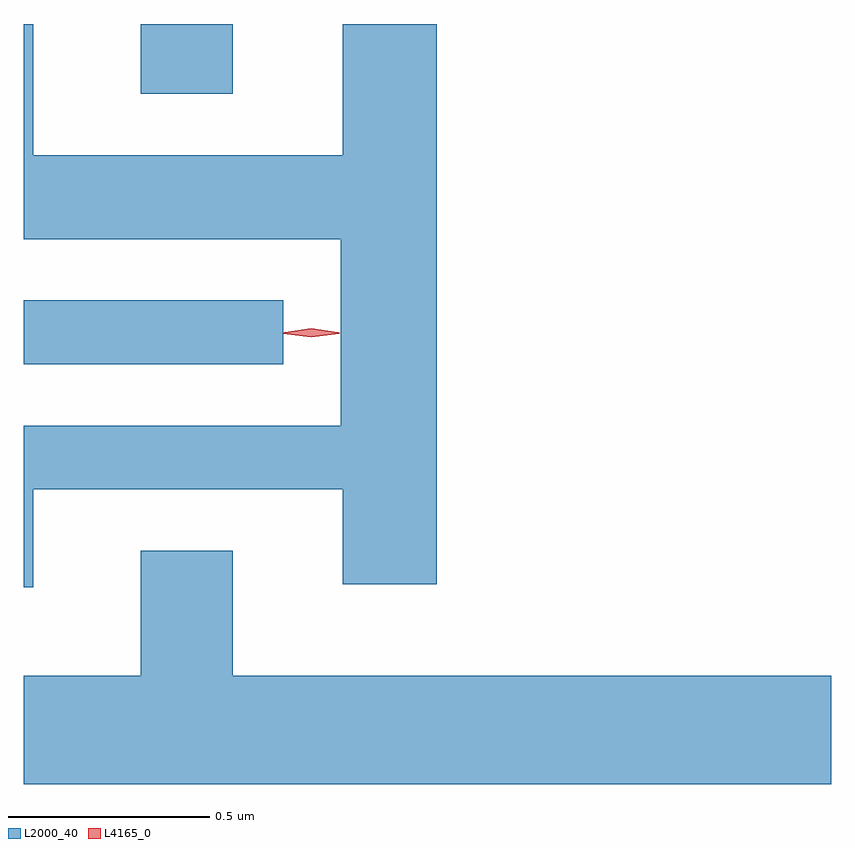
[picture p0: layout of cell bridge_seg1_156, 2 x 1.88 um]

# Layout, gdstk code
import gdstk
lib = gdstk.Library(unit=1e-6, precision=1e-09)
def R(c, l, rs):  # rectangles x0, y0, x1, y1
    for r in rs: c.add(gdstk.rectangle(r[:2], r[2:], *l))
def P(c, l, *ps):  # polygons
    for p in ps: c.add(gdstk.Polygon(p, *l))
L2000_40 = (2000, 40)
L4165_0 = (4165, 0)

bridge_seg1_156 = lib.new_cell('bridge_seg1_156')
R(bridge_seg1_156, L2000_40, [(911.181,962.776,911.823,962.934), (911.471,963.446,911.699,963.619)])
P(bridge_seg1_156, L2000_40, [(911.204,962.466),(911.971,962.466),(911.971,962.231),(912.204,962.231),(912.204,963.619),(911.971,963.619),(911.971,963.294),(911.204,963.294),(911.204,963.619),(911.181,963.619),(911.181,963.086),(911.966,963.086),(911.966,962.624),(911.181,962.624),(911.181,962.223),(911.204,962.223)],
  [(913.181,962.004),(911.699,962.004),(911.699,962.314),(911.471,962.314),(911.471,962.004),(911.181,962.004),(911.181,961.736),(913.181,961.736)])
P(bridge_seg1_156, L4165_0, [(911.893,962.845),(911.827,962.854),(911.827,962.855),(911.827,962.855),(911.893,962.865),(911.959,962.855),(911.96,962.855),(911.959,962.854)],
  [(911.893,962.843),(911.824,962.852),(911.823,962.853),(911.824,962.854),(911.893,962.863),(911.962,962.854),(911.963,962.853),(911.962,962.852)])

lib.write_gds('bridge_seg1_156.gds')
